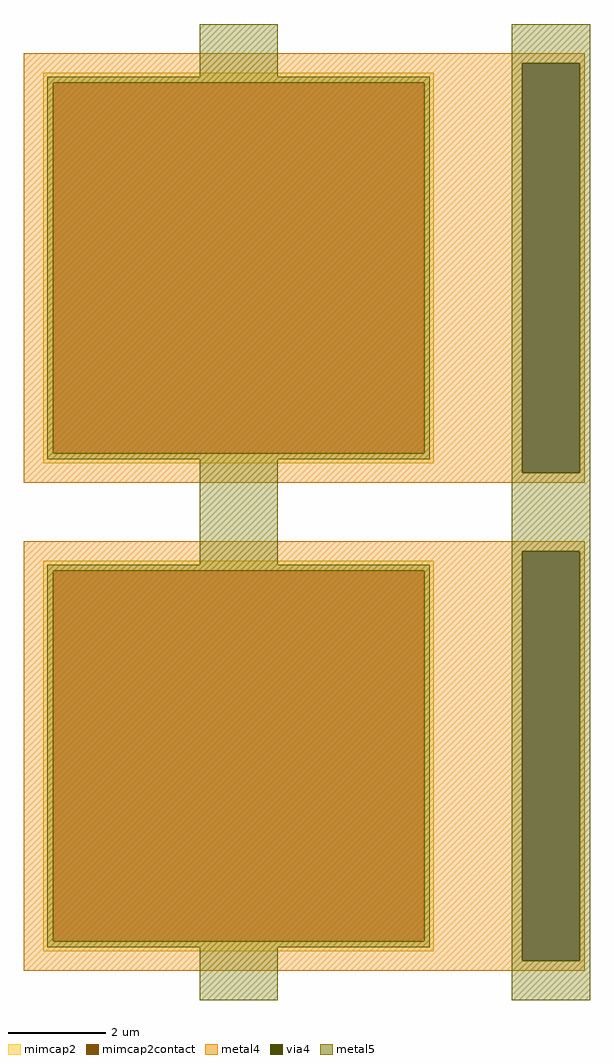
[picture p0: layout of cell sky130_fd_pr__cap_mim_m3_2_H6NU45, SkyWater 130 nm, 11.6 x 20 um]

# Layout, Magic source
magic
tech sky130A
magscale 1 2
<< metal4 >>
rect -1149 1839 1149 1880
rect -1149 161 893 1839
rect 1129 161 1149 1839
rect -1149 120 1149 161
rect -1149 -161 1149 -120
rect -1149 -1839 893 -161
rect 1129 -1839 1149 -161
rect -1149 -1880 1149 -1839
<< via4 >>
rect 893 161 1129 1839
rect 893 -1839 1129 -161
<< mimcap2 >>
rect -1069 1760 531 1800
rect -1069 240 -1029 1760
rect 491 240 531 1760
rect -1069 200 531 240
rect -1069 -240 531 -200
rect -1069 -1760 -1029 -240
rect 491 -1760 531 -240
rect -1069 -1800 531 -1760
<< mimcap2contact >>
rect -1029 240 491 1760
rect -1029 -1760 491 -240
<< metal5 >>
rect -429 1784 -109 2000
rect 851 1839 1171 2000
rect -1053 1760 515 1784
rect -1053 240 -1029 1760
rect 491 240 515 1760
rect -1053 216 515 240
rect -429 -216 -109 216
rect 851 161 893 1839
rect 1129 161 1171 1839
rect 851 -161 1171 161
rect -1053 -240 515 -216
rect -1053 -1760 -1029 -240
rect 491 -1760 515 -240
rect -1053 -1784 515 -1760
rect -429 -2000 -109 -1784
rect 851 -1839 893 -161
rect 1129 -1839 1171 -161
rect 851 -2000 1171 -1839
<< properties >>
string FIXED_BBOX -1149 120 611 1880
string gencell sky130_fd_pr__cap_mim_m3_2
string library sky130
string parameters w 8.0 l 8.0 val 134.08 carea 2.00 cperi 0.19 nx 1 ny 2 dummy 0 square 0 lmin 2.00 wmin 2.00 lmax 30.0 wmax 30.0 dc 0 bconnect 1 tconnect 1 ccov 100
<< end >>
